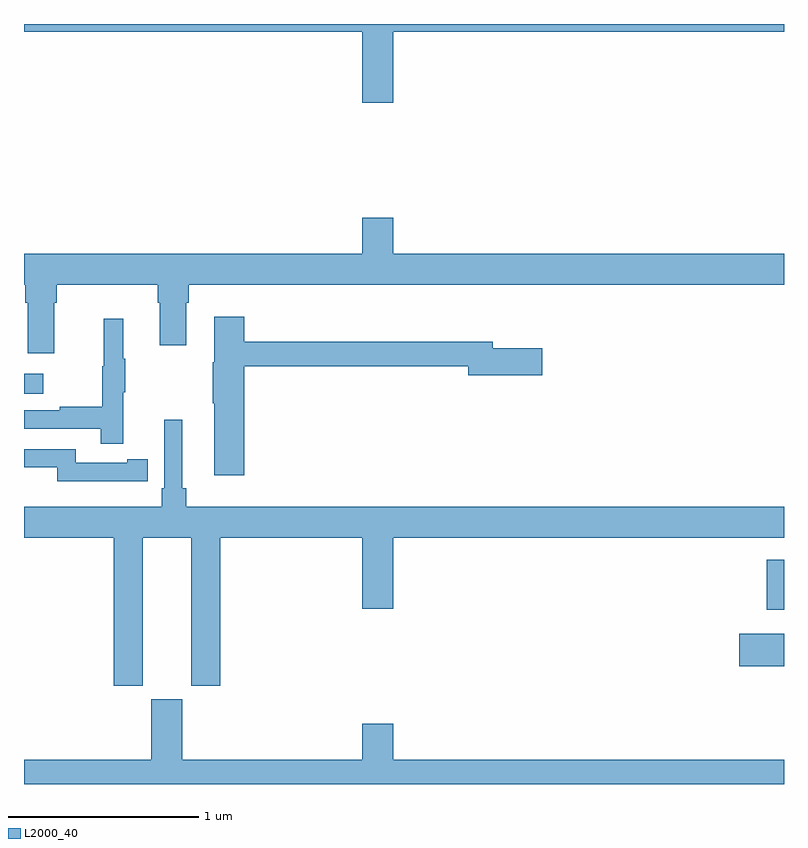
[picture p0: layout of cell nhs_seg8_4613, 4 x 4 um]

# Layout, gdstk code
import gdstk
lib = gdstk.Library(unit=1e-6, precision=1e-09)
def R(c, l, rs):  # rectangles x0, y0, x1, y1
    for r in rs: c.add(gdstk.rectangle(r[:2], r[2:], *l))
def P(c, l, *ps):  # polygons
    for p in ps: c.add(gdstk.Polygon(p, *l))
L2000_40 = (2000, 40)

nhs_seg8_4613 = lib.new_cell('nhs_seg8_4613')
R(nhs_seg8_4613, L2000_40, [(394.764,1086.521,395,1086.691), (394.91,1086.818,395,1087.081), (391,1087.955,391.102,1088.059)])
P(nhs_seg8_4613, L2000_40, [(392.944,1089.86),(395,1089.86),(395,1089.9),(391,1089.9),(391,1089.86),(392.78,1089.86),(392.78,1089.486),(392.944,1089.486)],
  [(391.159,1088.432),(391.172,1088.432),(391.172,1088.528),(391.703,1088.528),(391.703,1088.432),(391.715,1088.432),(391.715,1088.208),(391.855,1088.208),(391.855,1088.432),(391.868,1088.432),(391.868,1088.528),(395,1088.528),(395,1088.692),(392.944,1088.692),(392.944,1088.881),(392.78,1088.881),(392.78,1088.692),(391,1088.692),(391,1088.528),(391.007,1088.528),(391.007,1088.432),(391.019,1088.432),(391.019,1088.166),(391.159,1088.166)],
  [(392.159,1088.098),(393.338,1088.098),(393.338,1088.051),(393.727,1088.051),(393.727,1088.193),(393.466,1088.193),(393.466,1088.227),(392.159,1088.227),(392.159,1088.359),(392,1088.359),(392,1088.121),(391.993,1088.121),(391.993,1087.903),(392,1087.903),(392,1087.524),(392.159,1087.524)],
  [(391.523,1087.963),(391.534,1087.963),(391.534,1088.137),(391.523,1088.137),(391.523,1088.35),(391.42,1088.35),(391.42,1088.1),(391.413,1088.1),(391.413,1087.886),(391.189,1087.886),(391.189,1087.866),(391,1087.866),(391,1087.77),(391.405,1087.77),(391.405,1087.692),(391.523,1087.692)],
  [(391.624,1087.196),(391.88,1087.196),(391.88,1086.417),(392.033,1086.417),(392.033,1087.196),(392.78,1087.196),(392.78,1086.822),(392.944,1086.822),(392.944,1087.196),(395,1087.196),(395,1087.36),(391.853,1087.36),(391.853,1087.456),(391.834,1087.456),(391.834,1087.816),(391.737,1087.816),(391.737,1087.456),(391.724,1087.456),(391.724,1087.36),(391,1087.36),(391,1087.196),(391.472,1087.196),(391.472,1086.417),(391.624,1086.417)],
  [(391.544,1087.494),(391.652,1087.494),(391.652,1087.61),(391.544,1087.61),(391.544,1087.59),(391.272,1087.59),(391.272,1087.662),(391,1087.662),(391,1087.566),(391.176,1087.566),(391.176,1087.493),(391.544,1087.493)],
  [(395,1086.028),(392.944,1086.028),(392.944,1086.217),(392.78,1086.217),(392.78,1086.028),(391.834,1086.028),(391.834,1086.345),(391.67,1086.345),(391.67,1086.028),(391,1086.028),(391,1085.9),(395,1085.9)])

lib.write_gds('nhs_seg8_4613.gds')
